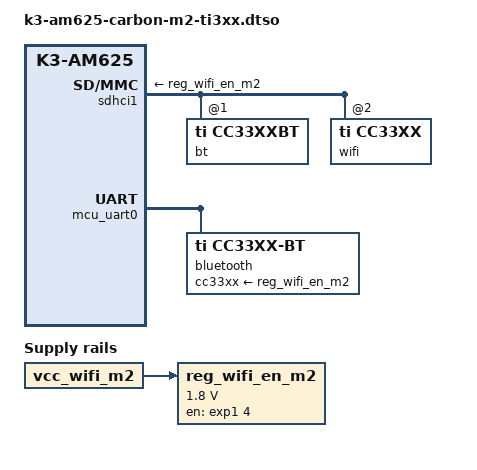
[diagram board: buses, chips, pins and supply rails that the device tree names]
// SPDX-License-Identifier: GPL-2.0
/*
 * M.2 SDIO TI CC33xx module
 *
 * Copyright (C) 2024 Ezurio LLC
 */

/dts-v1/;
/plugin/;

#include "k3-am625-carbon-m2.dtsi"

&{/} {
	/* Regulator needed to sync Wi-Fi and Bluetooth on power transitions */
	reg_wifi_en_m2: regulator-wifi-en-m2 {
		compatible = "regulator-fixed";

		regulator-name = "vcc_wifi_en_m2";
		regulator-min-microvolt = <1800000>;
		regulator-max-microvolt = <1800000>;

		vin-supply = <&vcc_wifi_m2>;

		gpios = <&exp1 4 GPIO_ACTIVE_HIGH>;   /* M2_WDISABLE1# */
		enable-active-high;

		startup-delay-us = <10000>;
		off-on-delay-us = <80>;
	};
};

&sdhci1 { /* SDIO_A uSD / M.2_SDIO */
	vmmc-supply = <&reg_wifi_en_m2>;

	cap-power-off-card;

	#address-cells = <1>;
	#size-cells = <0>;

	bt@1 {
		reg = <1>;
		compatible = "ti,cc33xxbt";
	};

	wifi@2 {
		reg = <2>;
		compatible = "ti,cc33xx";
	};
};

&mcu_uart0 {
	bluetooth {
		compatible = "ti,cc33xx-bt";
		cc33xx-supply = <&reg_wifi_en_m2>;
		max-speed = <115200>;
	};
};

&wifi_wakeup_m2 {
	status = "disabled";
};

&exp2 {
	/delete-property/ wakeup-source;
};
